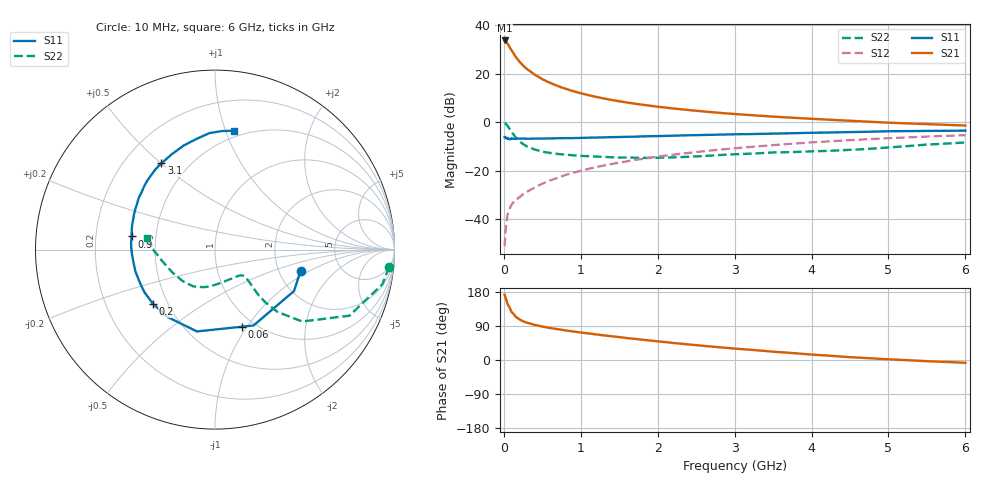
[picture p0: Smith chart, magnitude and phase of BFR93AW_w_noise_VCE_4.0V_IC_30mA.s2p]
! Infineon Technologies  Discrete & RF Semiconductors
! BFR93AW
! VCE =  4.0 V,  IC =  30 mA
! Common Emitter S-Parameters:  Jan 2017
# GHz  S  MA  R  50
!  f  S11  S21  S12  S22
! GHz  MAG  ANG  MAG  ANG  MAG  ANG  MAG  ANG
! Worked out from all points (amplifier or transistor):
!   77 points, 10 MHz to 6 GHz, reference 50 ohm
!   highest |S21| = 33.7 dB at 10 MHz (marker M1)
!   |S21| within 3 dB of that: start of sweep to 79.52 MHz
!   unconditionally stable (mu >= 1): 564.1 MHz to 2.046 GHz
!   at 130 MHz: K = 0.54, MSG = 30.5 dB, |S12| = -32.8 dB
!   at 2.2 GHz: K = 0.99, MSG = 9.5 dB, |S12| = -13.4 dB
!   at 6 GHz: K = 0.88, MSG = 2.0 dB, |S12| = -5.4 dB
!   lowest NFmin = 1.79 dB at 450 MHz
!   S11 on the Smith chart (normalised r, x): 10 MHz: 2.64, -0.82; 60 MHz: 0.88, -0.95; 200 MHz: 0.41, -0.32; 900 MHz: 0.36, +0.07; 3.1 GHz: 0.35, +0.50; 6 GHz: 0.44, +1.07
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0.01  0.4914 -13.9  48.19 172.4  0.0028 85.2  0.9746 -5.7
0.02  0.4972 -27.7  47.85 165.4  0.0053 82.8  0.9527 -11.7
0.05  0.4741 -63.1  41.11 146.8  0.0127 69.7  0.8346 -26.2
0.06  0.4553 -70.6  38.6 143.7  0.0141 67.2  0.7908 -28.3
0.1  0.467 -102.5  30.18 126.5  0.02 60.7  0.6296 -39.5
0.15  0.4592 -125.2  22.68 114.9  0.0248 57.0  0.4925 -44.9
0.2  0.4589 -138.9  17.89 107.5  0.0284 60.2  0.4082 -46.3
0.25  0.4591 -148.7  14.71 102.2  0.0327 61.0  0.3551 -46.3
0.3  0.4576 -155.4  12.43 98.4  0.0367 62.6  0.317 -45.5
0.4  0.4599 -164.8  9.525 92.5  0.0451 65.8  0.2739 -43.9
0.5  0.4601 -171.8  7.682 88.2  0.054 67.4  0.2487 -42.8
0.6  0.4634 -177.2  6.459 84.4  0.0633 68.4  0.2325 -42.2
0.7  0.4668 178.7  5.56 81.3  0.0715 69.8  0.2222 -42.1
0.9  0.4705 171.0  4.354 75.3  0.091 70.1  0.2081 -43.8
1.1  0.4797 164.9  3.604 70.1  0.1093 70.0  0.1994 -46.6
1.3  0.4869 159.1  3.076 65.0  0.1282 69.1  0.1931 -50.7
1.5  0.4952 154.4  2.695 60.4  0.1468 68.2  0.1871 -56.1
2.1  0.5221 140.8  2 47.2  0.2046 63.7  0.1865 -76.7
3.1  0.5658 121.8  1.437 28.6  0.2994 54.6  0.2215 -109.8
4.1  0.6086 105.3  1.153 13.1  0.3921 44.3  0.2534 -138.9
5.1  0.6518 91.5  0.964 0.9  0.4755 33.2  0.3094 -170.8
6  0.6706 81.0  0.853 -7.4  0.5398 23.1  0.3821 170.4
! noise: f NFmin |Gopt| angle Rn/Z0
0.45  1.79  0.18  173  0.16
0.9  2.06  0.26  -175  0.16
1.9  3.1  0.5  -135  0.29
2.4  3.75  0.55  -124  0.55
